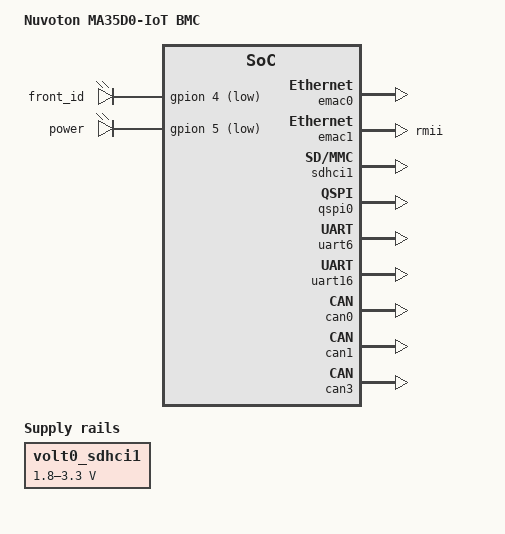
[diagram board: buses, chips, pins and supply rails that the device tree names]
/*
 * Device Tree Source for MA35D0 IoT Board (BMC)
 *
 * Based on upstream ma35d0-iot-256m.dts with BMC-specific modifications:
 * UBI/UBIFS root, LED naming, PDMA enablement, Host SOL (UART6), UART16,
 * CAN-FD (CAN0, CAN1, CAN3), and GPIO power control.
 *
 * Copyright (C) 2021 Nuvoton Technology Corp.
 *
 * The code contained herein is licensed under the GNU General Public
 * License. You may obtain a copy of the GNU General Public License
 * Version 2 or later at the following locations:
 *
 * http://www.opensource.org/licenses/gpl-license.html
 * http://www.gnu.org/copyleft/gpl.html
 */

/dts-v1/;

#include "ma35d0.dtsi"

/ {
	model = "Nuvoton MA35D0-IoT BMC";

	chosen {
		bootargs = "noinitrd ubi.mtd=spinand-rootfs root=ubi0:rootfs rootfstype=ubifs rw rootwait=1 console=ttyS0,115200n8 init=/sbin/init mem=256M swiotlb=1";
	};

	leds {
		compatible = "gpio-leds";

		front_id {
			label = "front_id";
			gpios = <&gpion 4 1>;
			default-state = "off";
		};

		power {
			label = "power";
			gpios = <&gpion 5 1>;
			default-state = "on";
		};
	};


	volt0_sdhci1: regulator-volt0_sdhci1 {
		compatible = "regulator-gpio";
		regulator-name = "volt1_sdhci1";
		regulator-min-microvolt = <1800000>;
		regulator-max-microvolt = <3300000>;
		gpios = <&gpion 11 GPIO_ACTIVE_HIGH>; /* PN11 */
		gpios-states = <0>;
		states = <1800000 0x1 3300000 0x0>;
		enable-active-high;
		regulator-boot-on;
	};
};

&mem {
	device_type = "memory";
	reg = <0x00000000 0x80000000 0 0x10000000>; /* DRAM space - 1, size : 256MB DRAM */
};

&pdma0 {
	status = "okay";
};

&pdma1 {
	status = "okay";
};

&pdma2 {
	status = "okay";
};

&pdma3 {
	status = "okay";
};

&emac0 {
	status = "okay";
	pinctrl-names = "default";
	pinctrl-0 = <&pinctrl_emac0>;
};

&emac1 {
	status = "okay";
	phy-mode = "rmii";
	pinctrl-names = "default";
	pinctrl-0 = <&pinctrl_emac1>;
};

&ehci0 {
	pinctrl-names = "default";
	pinctrl-0 = <&pinctrl_hsusbh>;
};

&usb {
	pinctrl-names = "default";
	pinctrl-0 = <&pinctrl_usb>;
};

&sdhci1 {
	status = "okay";
	disable-wp;
	pinctrl-names = "sdhci_3V3","sdhci_1V8";
	pinctrl-0 = <&pinctrl_sdhci1_3_3V>;
	pinctrl-1 = <&pinctrl_sdhci1_1_8V>;
	vqmmc-supply = <&volt0_sdhci1>;
};

&qspi0 {
	status = "okay";
	pinctrl-names = "default";
	pinctrl-0 = <&pinctrl_qspi0>;
};

&cpu_thermal {
	trips {
		cpu_alert: cpu-alert {
			temperature = <95000>;
			hysteresis = <2000>;
			type = "passive";
		};

		cpu_crit: cpu-crit {
			temperature = <105000>;
			hysteresis = <2000>;
			type = "critical";
		};
	};
};

/* Host Serial-Over-LAN (SOL) UART */
&uart6 {
	status = "okay";
	pinctrl-names = "default";
	pinctrl-0 = <&pinctrl_uart6>;
};

&uart16 {
	status = "okay";
	pinctrl-names = "default";
	pinctrl-0 = <&pinctrl_uart16>;
};

&can0 {
	status = "okay";
	pinctrl-names = "default";
	pinctrl-0 = <&pinctrl_can0>;
};

&can1 {
	status = "okay";
	pinctrl-names = "default";
	pinctrl-0 = <&pinctrl_can1>;
};

&can3 {
	status = "okay";
	pinctrl-names = "default";
	pinctrl-0 = <&pinctrl_can3>;
};

/* GPIO line names for x86-power-control (libgpiod) */
&gpion {
	gpio-line-names =
		"RESET_OUT",	/* PN0 */
		"POWER_OUT";	/* PN1 */
};

&gpiok {
	gpio-line-names =
		"","","","","","","","","","","","",
		"PS_PWROK";	/* PK12 */
};

&pinctrl {
	emac0 {
		pinctrl_emac0: emac0grp{
			nuvoton,pins =
				<SYS_GPE_MFPL_PE0MFP_RMII0_MDC		&pcfg_emac_3_3V>,
				<SYS_GPE_MFPL_PE1MFP_RMII0_MDIO	&pcfg_emac_3_3V>,
				<SYS_GPE_MFPL_PE2MFP_RMII0_TXEN	&pcfg_emac_3_3V>,
				<SYS_GPE_MFPL_PE3MFP_RMII0_TXD0	&pcfg_emac_3_3V>,
				<SYS_GPE_MFPL_PE4MFP_RMII0_TXD1	&pcfg_emac_3_3V>,
				<SYS_GPE_MFPL_PE5MFP_RMII0_REFCLK	&pcfg_emac_3_3V>,
				<SYS_GPE_MFPL_PE6MFP_RMII0_CRSDV	&pcfg_emac_3_3V>,
				<SYS_GPE_MFPL_PE7MFP_RMII0_RXD0	&pcfg_emac_3_3V>,
				<SYS_GPE_MFPH_PE8MFP_RMII0_RXD1	&pcfg_emac_3_3V>,
				<SYS_GPE_MFPH_PE9MFP_RMII0_RXERR	&pcfg_emac_3_3V>;
		};
	};

	emac1 {
		pinctrl_emac1: emac1grp{
			nuvoton,pins =
				<SYS_GPF_MFPL_PF0MFP_RMII1_MDC		&pcfg_emac_3_3V>,
				<SYS_GPF_MFPL_PF1MFP_RMII1_MDIO	&pcfg_emac_3_3V>,
				<SYS_GPF_MFPL_PF2MFP_RMII1_TXEN	&pcfg_emac_3_3V>,
				<SYS_GPF_MFPL_PF3MFP_RMII1_TXD0	&pcfg_emac_3_3V>,
				<SYS_GPF_MFPL_PF4MFP_RMII1_TXD1	&pcfg_emac_3_3V>,
				<SYS_GPF_MFPL_PF5MFP_RMII1_REFCLK	&pcfg_emac_3_3V>,
				<SYS_GPF_MFPL_PF6MFP_RMII1_CRSDV	&pcfg_emac_3_3V>,
				<SYS_GPF_MFPL_PF7MFP_RMII1_RXD0	&pcfg_emac_3_3V>,
				<SYS_GPF_MFPH_PF8MFP_RMII1_RXD1	&pcfg_emac_3_3V>,
				<SYS_GPF_MFPH_PF9MFP_RMII1_RXERR	&pcfg_emac_3_3V>;
		};
	};

	hsusbh {
		pinctrl_hsusbh: hsusbhgrp{
			nuvoton,pins =
				<SYS_GPL_MFPH_PL12MFP_HSUSBH_PWREN	&pcfg_default>,
				<SYS_GPL_MFPH_PL13MFP_HSUSBH_OVC	&pcfg_default>;
		};
	};

	uart6 {
		pinctrl_uart6: uart6grp{
			nuvoton,pins =
				<SYS_GPN_MFPH_PN12MFP_UART6_nCTS	&pcfg_default>,
				<SYS_GPN_MFPH_PN13MFP_UART6_nRTS	&pcfg_default>,
				<SYS_GPN_MFPH_PN14MFP_UART6_RXD	&pcfg_default>,
				<SYS_GPN_MFPH_PN15MFP_UART6_TXD	&pcfg_default>;
		};
	};

	uart16 {
		pinctrl_uart16: uart16grp{
			nuvoton,pins =
				<SYS_GPD_MFPH_PD8MFP_UART16_nCTS	&pcfg_default>,
				<SYS_GPD_MFPH_PD9MFP_UART16_nRTS	&pcfg_default>,
				<SYS_GPD_MFPH_PD10MFP_UART16_RXD	&pcfg_default>,
				<SYS_GPD_MFPH_PD11MFP_UART16_TXD	&pcfg_default>;
		};
	};

	qspi0 {
		pinctrl_qspi0: qspi0grp{
			nuvoton,pins =
				<SYS_GPD_MFPL_PD0MFP_QSPI0_SS0		&pcfg_default>,
				<SYS_GPD_MFPL_PD1MFP_QSPI0_CLK		&pcfg_default>,
				<SYS_GPD_MFPL_PD2MFP_QSPI0_MOSI0	&pcfg_default>,
				<SYS_GPD_MFPL_PD3MFP_QSPI0_MISO0	&pcfg_default>,
				<SYS_GPD_MFPL_PD4MFP_QSPI0_MOSI1	&pcfg_default>,
				<SYS_GPD_MFPL_PD5MFP_QSPI0_MISO1	&pcfg_default>;
		};
	};

	usb {
		pinctrl_usb: usbgrp{
			nuvoton,pins =
				<SYS_GPF_MFPH_PF15MFP_HSUSB0_VBUSVLD	&pcfg_default>;
		};
	};

	can0 {
		pinctrl_can0: can0grp{
			nuvoton,pins =
				<SYS_GPN_MFPL_PN2MFP_CAN0_RXD	&pcfg_default>,
				<SYS_GPN_MFPL_PN3MFP_CAN0_TXD	&pcfg_default>;
		};
	};

	can1 {
		pinctrl_can1: can1grp{
			nuvoton,pins =
				<SYS_GPN_MFPL_PN6MFP_CAN1_RXD	&pcfg_default>,
				<SYS_GPN_MFPL_PN7MFP_CAN1_TXD	&pcfg_default>;
		};
	};

	can3 {
		pinctrl_can3: can3grp{
			nuvoton,pins =
				<SYS_GPM_MFPL_PM2MFP_CAN3_RXD	&pcfg_default>,
				<SYS_GPM_MFPL_PM3MFP_CAN3_TXD	&pcfg_default>;
		};
	};

	sdhci1 {
		pinctrl_sdhci1_3_3V: sdhci1_3_3Vgrp{
			nuvoton,pins =
				<SYS_GPJ_MFPL_PJ5MFP_SD1_nCD	&pcfg_default>,
				<SYS_GPJ_MFPL_PJ6MFP_SD1_CMD	&pcfg_sdhci_drive2_3_3V>,
				<SYS_GPJ_MFPL_PJ7MFP_SD1_CLK	&pcfg_sdhci_drive2_3_3V>,
				<SYS_GPJ_MFPH_PJ8MFP_SD1_DAT0	&pcfg_sdhci_drive2_3_3V>,
				<SYS_GPJ_MFPH_PJ9MFP_SD1_DAT1	&pcfg_sdhci_drive2_3_3V>,
				<SYS_GPJ_MFPH_PJ10MFP_SD1_DAT2	&pcfg_sdhci_drive2_3_3V>,
				<SYS_GPJ_MFPH_PJ11MFP_SD1_DAT3	&pcfg_sdhci_drive2_3_3V>;
		};

		pinctrl_sdhci1_1_8V: sdhci1_1_8Vgrp{
			nuvoton,pins =
				<SYS_GPJ_MFPL_PJ5MFP_SD1_nCD	&pcfg_default>,
				<SYS_GPJ_MFPL_PJ6MFP_SD1_CMD	&pcfg_sdhci_drive4_1_8V>,
				<SYS_GPJ_MFPL_PJ7MFP_SD1_CLK	&pcfg_sdhci_drive7_1_8V>,
				<SYS_GPJ_MFPH_PJ8MFP_SD1_DAT0	&pcfg_sdhci_drive1_1_8V>,
				<SYS_GPJ_MFPH_PJ9MFP_SD1_DAT1	&pcfg_sdhci_drive1_1_8V>,
				<SYS_GPJ_MFPH_PJ10MFP_SD1_DAT2	&pcfg_sdhci_drive1_1_8V>,
				<SYS_GPJ_MFPH_PJ11MFP_SD1_DAT3	&pcfg_sdhci_drive1_1_8V>;
		};
	};
};
